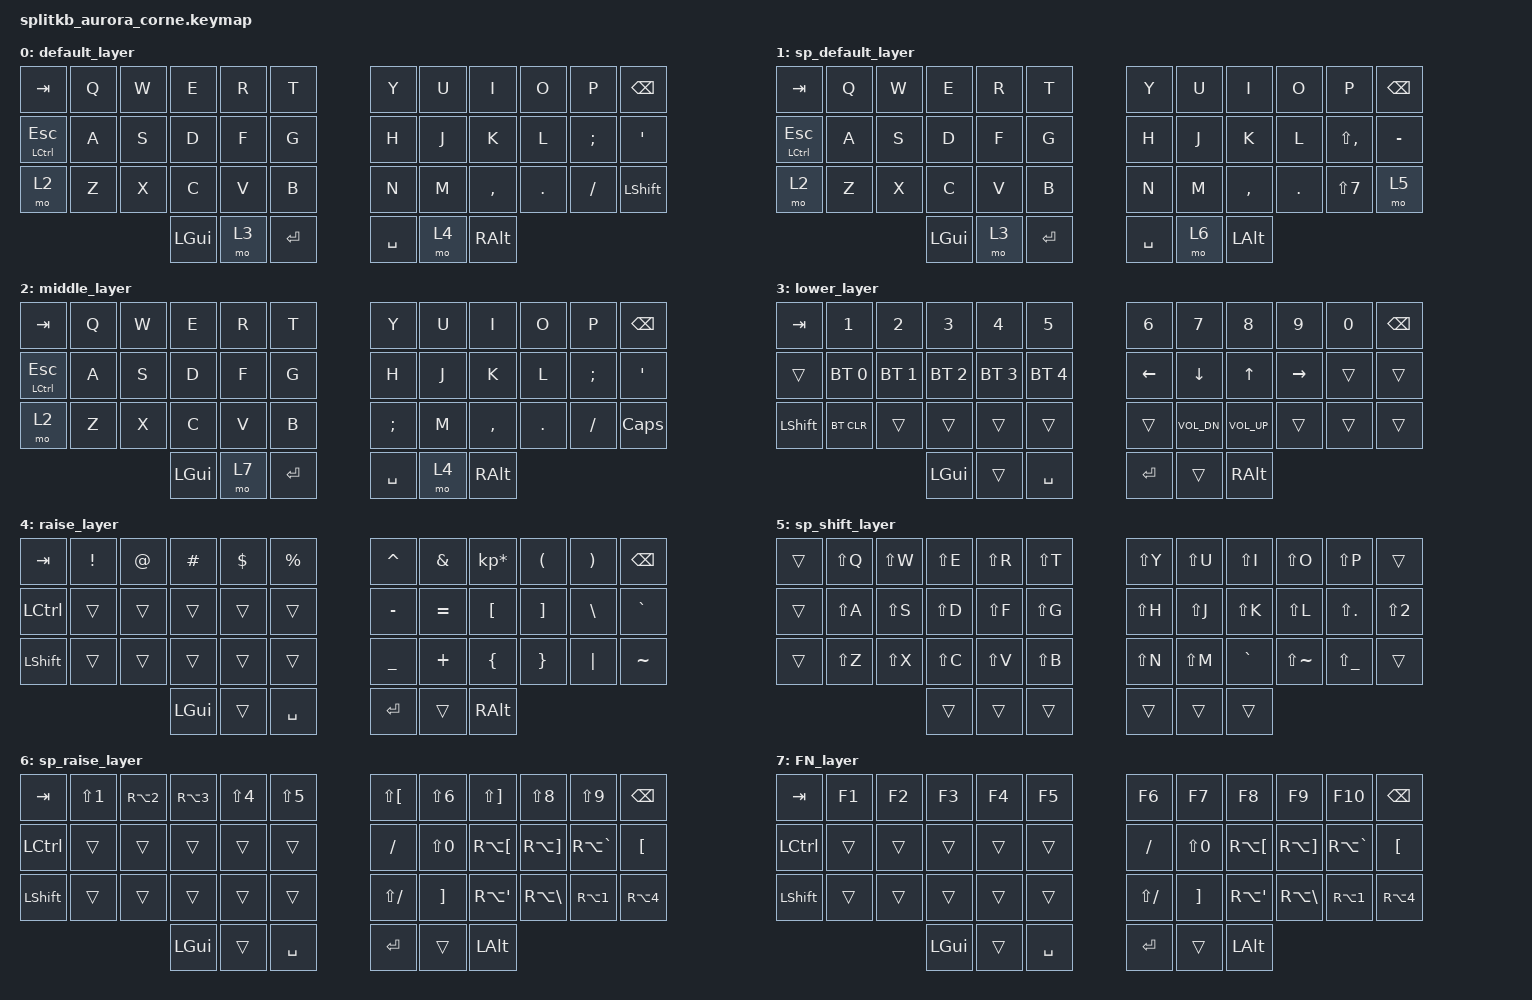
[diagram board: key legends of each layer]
/*
 * Copyright (c) 2020 The ZMK Contributors
 *
 * SPDX-License-Identifier: MIT
 */

#include <behaviors.dtsi>
#include <dt-bindings/zmk/keys.h>
#include <dt-bindings/zmk/bt.h>
#include "../helper.h"
#include "../char/spanish.dtsi"

/ {
        combos {
            compatible = "zmk,combos";

            switch_sp_en {
                bindings = <&tog 1>;
                key-positions = <41 14 10>;
            };
        };
        keymap {
                compatible = "zmk,keymap";

                default_layer {
// -----------------------------------------------------------------------------------------
// |  TAB |  Q  |  W  |  E  |  R  |  T  |   |  Y  |  U   |  I  |  O  |  P  | BKSP |
// | ESC/CTL |  A  |  S  |  D  |  F  |  G  |   |  H  |  J   |  K  |  L  |  ;  |  '   |
// | SHFT |  Z  |  X  |  C  |  V  |  B  |   |  N  |  M   |  ,  |  .  |  /  | SHFT |
//                    | GUI | LWR | SPC |   | ENT | RSE  | ALT |
                        bindings = <
   &kp TAB   &kp Q &kp W &kp E &kp R &kp T   &kp Y &kp U  &kp I     &kp O   &kp P    &kp BSPC
   &mt LCTRL ESC &kp A &kp S &kp D &kp F &kp G   &kp H &kp J  &kp K     &kp L   &kp SEMI &kp SQT
   &mo 2 &kp Z &kp X &kp C &kp V &kp B   &kp N &kp M  &kp COMMA &kp DOT &kp FSLH &kp LSHFT
                  &kp LGUI &mo 3 &kp RET &kp SPACE &mo 4   &kp RALT
                        >;
                };

                 sp_default_layer {
// -----------------------------------------------------------------------------------------
// |  TAB |  Q  |  W  |  E  |  R  |  T  |   |  Y  |  U   |  I  |  O  |  P  | BKSP |
// | ESC/CTL |  A  |  S  |  D  |  F  |  G  |   |  H  |  J   |  K  |  L  |  ;  |  '   |
// | SHFT |  Z  |  X  |  C  |  V  |  B  |   |  N  |  M   |  ,  |  .  |  /  | SHFT |
//                    | GUI | LWR | SPC |   | ENT | RSE  | ALT |
                        bindings = <
   &kp TAB   &kp Q &kp W &kp E &kp R &kp T   &kp Y &kp U  &kp I     &kp O   &kp P    &kp BSPC
   &mt LCTRL ESC &kp A &kp S &kp D &kp F &kp G   &kp H &kp J  &kp K     &kp L   &kp LS(COMMA) &kp MINUS
   &mo 2 &kp Z &kp X &kp C &kp V &kp B   &kp N &kp M  &kp COMMA &kp DOT &kp LS(N7) &mo 5
                  &kp LGUI &mo 3 &kp RET &kp SPACE &mo 6   &kp LALT
                        >;
                };

                middle_layer {
// -----------------------------------------------------------------------------------------
// |      |      |      |      |      |      |   |      |      |      |      |      |       |
// |         |      |      |      |      |      |   |      |      |      |      |     |       |
// |            |      |      |      |      |   n_tilde   |   |      |      |      |      | CAPS_LOCK |
//                    |      |      |      |   |      |      |      |
                        bindings = <
   &kp TAB   &kp Q &kp W &kp E &kp R &kp T   &kp Y &kp U  &kp I     &kp O   &kp P    &kp BSPC
   &mt LCTRL ESC &kp A &kp S &kp D &kp F &kp G   &kp H &kp J  &kp K     &kp L   &kp SEMI &kp SQT
   &mo 2 &kp Z &kp X &kp C &kp V &kp B   &kp SEMICOLON &kp M  &kp COMMA &kp DOT &kp FSLH &kp CAPS
                  &kp LGUI &mo 7 &kp RET &kp SPACE &mo 4   &kp RALT
                        >;
                };
                lower_layer {
// -----------------------------------------------------------------------------------------
// |  TAB |  1  |  2  |  3  |  4  |  5  |   |  6  |  7  |  8  |  9  |  0  | BKSP |
// |      | BT1 | BT2 | BT3 | BT4 | BT5 |   | LFT | DWN |  UP | RGT |     |      |
// | SHFT |BTCLR|     |     |     |     |   |     |VOL_D|VOL_U|     |     |      |
//                    | GUI |     | SPC |   | ENT |     | ALT |
                        bindings = <
   &kp TAB    &kp N1       &kp N2       &kp N3       &kp N4       &kp N5         &kp N6   &kp N7   &kp N8 &kp N9    &kp N0 &kp BSPC
   &trans &bt BT_SEL 0 &bt BT_SEL 1 &bt BT_SEL 2 &bt BT_SEL 3 &bt BT_SEL 4   &kp LEFT &kp DOWN &kp UP &kp RIGHT &trans &trans
   &kp LSHFT  &bt BT_CLR        &trans       &trans       &trans       &trans         &trans   &kp C_VOL_DN &kp C_VOL_UP &trans    &trans &trans
                                    &kp LGUI     &trans       &kp SPACE      &kp RET  &trans   &kp RALT
                        >;
                };

                raise_layer {
// -----------------------------------------------------------------------------------------
// |  TAB |  !  |  @  |  #  |  $  |  %  |   |  ^  |  &  |  *  |  (  |  )  | BKSP |
// | CTRL |     |     |     |     |     |   |  -  |  =  |  [  |  ]  |  \  |  `   |
// | SHFT |     |     |     |     |     |   |  _  |  +  |  {  |  }  | "|" |  ~   |
//                    | GUI |     | SPC |   | ENT |     | ALT |
                        bindings = <
   &kp  TAB  &kp EXCL &kp AT &kp HASH &kp DLLR &kp PRCNT   &kp CARET &kp AMPS  &kp KP_MULTIPLY &kp LPAR &kp RPAR &kp BSPC
   &kp LCTRL &trans   &trans &trans   &trans   &trans      &kp MINUS &kp EQUAL &kp LBKT        &kp RBKT &kp BSLH &kp GRAVE
   &kp LSHFT &trans   &trans &trans   &trans   &trans      &kp UNDER &kp PLUS  &kp LBRC        &kp RBRC &kp PIPE &kp TILDE
                             &kp LGUI &trans   &kp SPACE   &kp RET   &trans    &kp RALT
                        >;
                };

        sp_shift_layer {
            bindings = <
    &trans  &kp LS(Q)  &kp LS(W)  &kp LS(E)  &kp LS(R)  &kp LS(T)    &kp LS(Y)  &kp LS(U)  &kp LS(I)  &kp LS(O)      &kp LS(P)      &trans
    &trans  &kp LS(A)  &kp LS(S)  &kp LS(D)  &kp LS(F)  &kp LS(G)    &kp LS(H)  &kp LS(J)  &kp LS(K)  &kp LS(L)      &kp LS(DOT)    &kp LS(N2)
    &trans  &kp LS(Z)  &kp LS(X)  &kp LS(C)  &kp LS(V)  &kp LS(B)    &kp LS(N)  &kp LS(M)  &kp GRAVE  &kp LS(TILDE)  &kp LS(UNDER)  &trans
                              &trans     &trans     &trans       &trans     &trans     &trans
            >;
        };

                sp_raise_layer {
// -----------------------------------------------------------------------------------------
// |  TAB |  !  |  @  |  #  |  $  |  %  |   |  ^  |  &  |  *  |  (  |  )  | BKSP |
// | CTRL |     |     |     |     |     |   |  -  |  =  |  [  |  ]  |  \  |  `   |
// | SHFT |     |     |     |     |     |   |  _  |  +  |  {  |  }  | "|" |  ~   |
//                    | GUI |     | SPC |   | ENT |     | ALT |
                        bindings = <
   &kp  TAB  &kp LS(N1) &kp RA(N2) &kp RA(N3) &kp LS(N4) &kp LS(N5)   &kp LS(LBKT) &kp LS(N6)  &kp LS(RBKT) &kp LS(N8) &kp LS(N9) &kp BSPC
   &kp LCTRL &trans   &trans &trans   &trans   &trans      &kp SLASH &kp LS(N0) &kp RA(LBKT) &kp RA(RBKT) &kp RA(GRAVE) &kp LBKT
   &kp LSHFT &trans   &trans &trans   &trans   &trans      &kp LS(SLASH) &kp RBKT  &kp RA(APOS) &kp RA(BACKSLASH) &kp RA(N1) &kp RA(N4)
                             &kp LGUI &trans   &kp SPACE   &kp RET   &trans    &kp LALT
                        >;
                };
                FN_layer {
// -----------------------------------------------------------------------------------------
// |  TAB |  f1  |  f2  |  f3  |  f4  |  f5  | f6  |  f7  |  f8  |  f9  |  f10  |  f11  | BKSP |
// | CTRL |     |     |     |     |     |   |  -  |  =  |  [  |  ]  |  \  |  `   |
// | SHFT |     |     |     |     |     |   |  _  |  +  |  {  |  }  | "|" |  ~   |
//                    | GUI |     | SPC |   | ENT |     | ALT |
                        bindings = <
   &kp  TAB  &kp F1   &kp F2 &kp F3   &kp F4   &kp F5      &kp F6    &kp F7     &kp F8   &kp F9   &kp F10   &kp BSPC
   &kp LCTRL &trans   &trans &trans   &trans   &trans      &kp SLASH &kp LS(N0) &kp RA(LBKT) &kp RA(RBKT) &kp RA(GRAVE) &kp LBKT
   &kp LSHFT &trans   &trans &trans   &trans   &trans      &kp LS(SLASH) &kp RBKT  &kp RA(APOS) &kp RA(BACKSLASH) &kp RA(N1) &kp RA(N4)
                             &kp LGUI &trans   &kp SPACE   &kp RET   &trans    &kp LALT
                        >;
                };
        };
};
